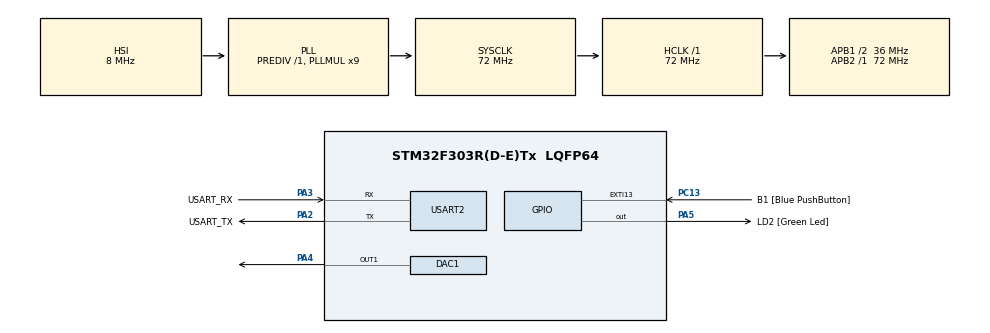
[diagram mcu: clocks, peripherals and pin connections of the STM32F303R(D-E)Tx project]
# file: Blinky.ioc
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DAC1.DAC_Trigger=DAC_TRIGGER_T7_TRGO
Dma.DAC1_CH1.0.Direction=DMA_MEMORY_TO_PERIPH
Dma.DAC1_CH1.0.Instance=DMA1_Channel3
Dma.DAC1_CH1.0.MemDataAlignment=DMA_MDATAALIGN_WORD
Dma.DAC1_CH1.0.MemInc=DMA_MINC_ENABLE
Dma.DAC1_CH1.0.Mode=DMA_CIRCULAR
Dma.DAC1_CH1.0.PeriphDataAlignment=DMA_PDATAALIGN_HALFWORD
Dma.DAC1_CH1.0.PeriphInc=DMA_PINC_DISABLE
Dma.DAC1_CH1.0.Priority=DMA_PRIORITY_LOW
Dma.Request0=DAC1_CH1
Mcu.Family=STM32F3
Mcu.Name=STM32F303R(D-E)Tx
Mcu.Package=LQFP64
NVIC.DMA1_Channel3_IRQn=true\:0\:0\:false\:false\:true\:false\:true\:true
NVIC.PriorityGroup=NVIC_PRIORITYGROUP_0
PA13.GPIO_Label=TMS
PA13.Mode=Serial_Wire
PA13.Signal=SYS_JTMS-SWDIO
PA14.GPIO_Label=TCK
PA14.Mode=Serial_Wire
PA14.Signal=SYS_JTCK-SWCLK
PA2.GPIO_Label=USART_TX
PA2.GPIO_Mode=GPIO_MODE_AF_PP
PA2.GPIO_PuPd=GPIO_NOPULL
PA2.GPIO_Speed=GPIO_SPEED_FREQ_LOW
PA2.Mode=Asynchronous
PA2.Signal=USART2_TX
PA3.GPIO_Label=USART_RX
PA3.GPIO_Mode=GPIO_MODE_AF_PP
PA3.GPIO_PuPd=GPIO_NOPULL
PA3.GPIO_Speed=GPIO_SPEED_FREQ_LOW
PA3.Mode=Asynchronous
PA3.Signal=USART2_RX
PA4.Signal=COMP_DAC11_group
PA5.GPIO_Label=LD2 [Green Led]
PA5.GPIO_Mode=GPIO_MODE_OUTPUT_PP
PA5.GPIO_PuPd=GPIO_NOPULL
PA5.GPIO_Speed=GPIO_SPEED_FREQ_LOW
PA5.Signal=GPIO_Output
PB3.GPIO_Label=SWO
PB3.Signal=SYS_JTDO-TRACESWO
PC13.GPIO_Label=B1 [Blue PushButton]
PC13.GPIO_ModeDefaultEXTI=GPIO_MODE_IT_FALLING
PC13.Signal=GPXTI13
PC14-OSC32_IN.Mode=LSE-External-Oscillator
PC14-OSC32_IN.Signal=RCC_OSC32_IN
PC15-OSC32_OUT.Mode=LSE-External-Oscillator
PC15-OSC32_OUT.Signal=RCC_OSC32_OUT
PF0-OSC_IN.Mode=HSE-External-Clock-Source
PF0-OSC_IN.Signal=RCC_OSC_IN
PF1-OSC_OUT.Signal=RCC_OSC_OUT
ProjectManager.HeapSize=0x200
ProjectManager.StackSize=0x400
ProjectManager.TargetToolchain=STM32CubeIDE
RCC.AHBFreq_Value=72000000
RCC.APB1CLKDivider=RCC_HCLK_DIV2
RCC.APB1Freq_Value=36000000
RCC.APB1TimFreq_Value=72000000
RCC.APB2Freq_Value=72000000
RCC.APB2TimFreq_Value=72000000
RCC.CortexFreq_Value=72000000
RCC.HCLKFreq_Value=72000000
RCC.HSE_VALUE=8000000
RCC.HSI_VALUE=8000000
RCC.PLLM=8
RCC.PLLMUL=RCC_PLL_MUL9
RCC.PLLN=336
RCC.PLLP=RCC_PLLP_DIV4
RCC.PLLQ=7
RCC.RCC_PLLsource_Clock_Source_FROM_HSE=RCC_HSE_PREDIV_DIV2
RCC.SYSCLKFreq_VALUE=72000000
RCC.SYSCLKSourceVirtual=RCC_SYSCLKSOURCE_PLLCLK
RCC.USBFreq_Value=72000000
SH.COMP_DAC11_group.0=DAC1_OUT1,DAC_OUT1
TIM7.Period=400-1
TIM7.Prescaler=72-1
TIM7.TIM_MasterOutputTrigger=TIM_TRGO_UPDATE
USART2.VirtualMode-Asynchronous=VM_ASYNC
VP_TIM7_VS_ClockSourceINT.Mode=Enable_Timer
board=NUCLEO-F303RE

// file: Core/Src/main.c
/* USER CODE BEGIN Header */
/**
  ******************************************************************************
  * @file           : main.c
  * @brief          : Main program body
  ******************************************************************************
  * @attention
  *
  * Copyright (c) 2024 STMicroelectronics.
  * All rights reserved.
  *
  * This software is licensed under terms that can be found in the LICENSE file
  * in the root directory of this software component.
  * If no LICENSE file comes with this software, it is provided AS-IS.
  *
  ******************************************************************************
  */
/* USER CODE END Header */
#include "main.h"
#include "dac.h"
#include "dma.h"
#include "tim.h"
#include "usart.h"
#include "gpio.h"

/* USER CODE BEGIN Includes */
#include "scheduler.h"
#include "uartStream.h";
#include <stdio.h>
#include <stdint.h>
#include <math.h>
/* USER CODE END Includes */

/* USER CODE BEGIN PD */
#define PI 				3.14155926
#define MAX_SAMPLES 	10000	// to be executed within 5 seconds from top to top.
#define RES_8B			256
#define RES_12B			4096
/* USER CODE END PD */

/* USER CODE BEGIN PV */
uint32_t sine_values[MAX_SAMPLES];
uint32_t arr[1000];

/* USER CODE END PV */

void SystemClock_Config(void);
/* USER CODE BEGIN PFP */

void toggleLed();
void getSineValues();
/* USER CODE END PFP */

/* USER CODE BEGIN 0 */
void toggleLed()
{
	HAL_GPIO_TogglePin(LD2_GPIO_Port, LD2_Pin);
}

void getSineValues()
{
	for ( int i = 0; i < MAX_SAMPLES; i += 1 )
	{
		sine_values[i] = ( ( sin( i * 2 * PI / MAX_SAMPLES ) +1  ) ) * RES_12B / 2;
	}
}

void arrUp()
{
	static i = 0;
	uartStream_sendU32( sine_values[i] );
	if ( i < MAX_SAMPLES )
		i ++;
	else i = 0;
}
/* USER CODE END 0 */

int main(void)
{

  /* MCU Configuration--------------------------------------------------------*/

  /* Reset of all peripherals, Initializes the Flash interface and the Systick. */
  HAL_Init();

  /* Configure the system clock */
  SystemClock_Config();

  /* Initialize all configured peripherals */
  MX_GPIO_Init();
  MX_DMA_Init();
  MX_USART2_UART_Init();
  MX_DAC1_Init();
  MX_TIM7_Init();
  /* USER CODE BEGIN 2 */
  getSineValues();
  HAL_TIM_Base_Start( &htim7 );
  HAL_DAC_Start_DMA( &hdac1, DAC1_CHANNEL_1, sine_values, MAX_SAMPLES, DAC_ALIGN_12B_R);

  for ( int i = 0; i < 1000; i ++ )
	  arr[i] = i;

  scheduler_init();

  // add tasks to scheduler:
  scheduler_addTask(10, arrUp);

  scheduler_run();
  /* USER CODE END 2 */

  /* Infinite loop */
  while (1)
  {

  }
}

void SystemClock_Config(void)
{
  RCC_OscInitTypeDef RCC_OscInitStruct = {0};
  RCC_ClkInitTypeDef RCC_ClkInitStruct = {0};
  RCC_PeriphCLKInitTypeDef PeriphClkInit = {0};

  /** Initializes the RCC Oscillators according to the specified parameters
  * in the RCC_OscInitTypeDef structure.
  */
  RCC_OscInitStruct.OscillatorType = RCC_OSCILLATORTYPE_HSI;
  RCC_OscInitStruct.HSIState = RCC_HSI_ON;
  RCC_OscInitStruct.HSICalibrationValue = RCC_HSICALIBRATION_DEFAULT;
  RCC_OscInitStruct.PLL.PLLState = RCC_PLL_ON;
  RCC_OscInitStruct.PLL.PLLSource = RCC_PLLSOURCE_HSI;
  RCC_OscInitStruct.PLL.PLLMUL = RCC_PLL_MUL9;
  RCC_OscInitStruct.PLL.PREDIV = RCC_PREDIV_DIV1;
  if (HAL_RCC_OscConfig(&RCC_OscInitStruct) != HAL_OK)
  {
    Error_Handler();
  }

  /** Initializes the CPU, AHB and APB buses clocks
  */
  RCC_ClkInitStruct.ClockType = RCC_CLOCKTYPE_HCLK|RCC_CLOCKTYPE_SYSCLK
                              |RCC_CLOCKTYPE_PCLK1|RCC_CLOCKTYPE_PCLK2;
  RCC_ClkInitStruct.SYSCLKSource = RCC_SYSCLKSOURCE_PLLCLK;
  RCC_ClkInitStruct.AHBCLKDivider = RCC_SYSCLK_DIV1;
  RCC_ClkInitStruct.APB1CLKDivider = RCC_HCLK_DIV2;
  RCC_ClkInitStruct.APB2CLKDivider = RCC_HCLK_DIV1;

  if (HAL_RCC_ClockConfig(&RCC_ClkInitStruct, FLASH_LATENCY_2) != HAL_OK)
  {
    Error_Handler();
  }
  PeriphClkInit.PeriphClockSelection = RCC_PERIPHCLK_USART2;
  PeriphClkInit.Usart2ClockSelection = RCC_USART2CLKSOURCE_PCLK1;
  if (HAL_RCCEx_PeriphCLKConfig(&PeriphClkInit) != HAL_OK)
  {
    Error_Handler();
  }
}

void Error_Handler(void)
{
  __disable_irq();
  while (1)
  {
  }
}
